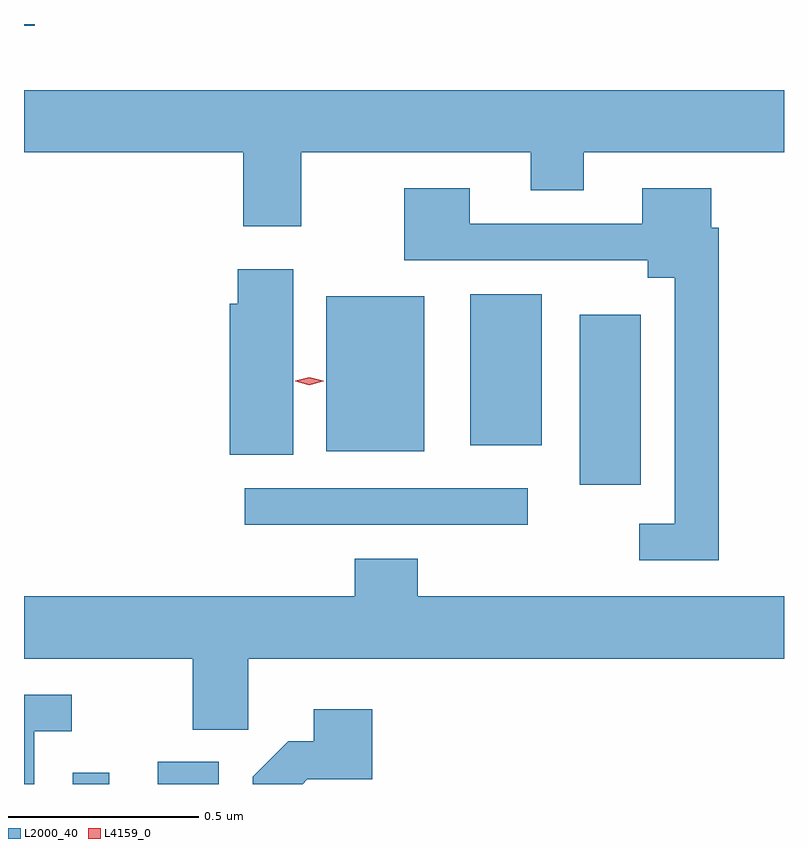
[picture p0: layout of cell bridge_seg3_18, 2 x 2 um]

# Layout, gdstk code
import gdstk
lib = gdstk.Library(unit=1e-6, precision=1e-09)
def R(c, l, rs):  # rectangles x0, y0, x1, y1
    for r in rs: c.add(gdstk.rectangle(r[:2], r[2:], *l))
def P(c, l, *ps):  # polygons
    for p in ps: c.add(gdstk.Polygon(p, *l))
L2000_40 = (2000, 40)
L4159_0 = (4159, 0)

bridge_seg3_18 = lib.new_cell('bridge_seg3_18')
R(bridge_seg3_18, L2000_40, [(732.792,715.238,732.888,715.267), (733.016,715.238,733.177,715.296), (733.245,715.92,733.99,716.016), (734.126,716.025,734.287,716.473), (733.46,716.114,733.717,716.521), (733.838,716.129,734.026,716.527), (732.664,717.234,732.692,717.238)])
P(bridge_seg3_18, L2000_40, [(733.393,716.9),(733.997,716.9),(733.997,716.801),(734.137,716.801),(734.137,716.9),(734.664,716.9),(734.664,717.064),(732.664,717.064),(732.664,716.9),(733.241,716.9),(733.241,716.706),(733.393,716.706)],
  [(734.492,716.702),(734.473,716.702),(734.473,716.806),(734.291,716.806),(734.291,716.712),(733.837,716.712),(733.837,716.806),(733.664,716.806),(733.664,716.616),(734.306,716.616),(734.306,716.57),(734.376,716.57),(734.376,715.923),(734.283,715.923),(734.283,715.827),(734.492,715.827)],
  [(733.372,716.593),(733.226,716.593),(733.226,716.502),(733.205,716.502),(733.205,716.105),(733.372,716.105)],
  [(733.254,715.568),(734.664,715.568),(734.664,715.732),(733.7,715.732),(733.7,715.831),(733.535,715.831),(733.535,715.732),(732.664,715.732),(732.664,715.568),(733.108,715.568),(733.108,715.381),(733.254,715.381)],
  [(732.691,715.377),(732.79,715.377),(732.79,715.473),(732.664,715.473),(732.664,715.238),(732.691,715.238)],
  [(733.41,715.251),(733.58,715.251),(733.58,715.435),(733.427,715.435),(733.427,715.35),(733.359,715.35),(733.266,715.257),(733.266,715.238),(733.397,715.238)])
P(bridge_seg3_18, L4159_0, [(733.415,716.288),(733.378,716.298),(733.378,716.298),(733.378,716.299),(733.415,716.308),(733.452,716.299),(733.453,716.298),(733.452,716.298)])

lib.write_gds('bridge_seg3_18.gds')
